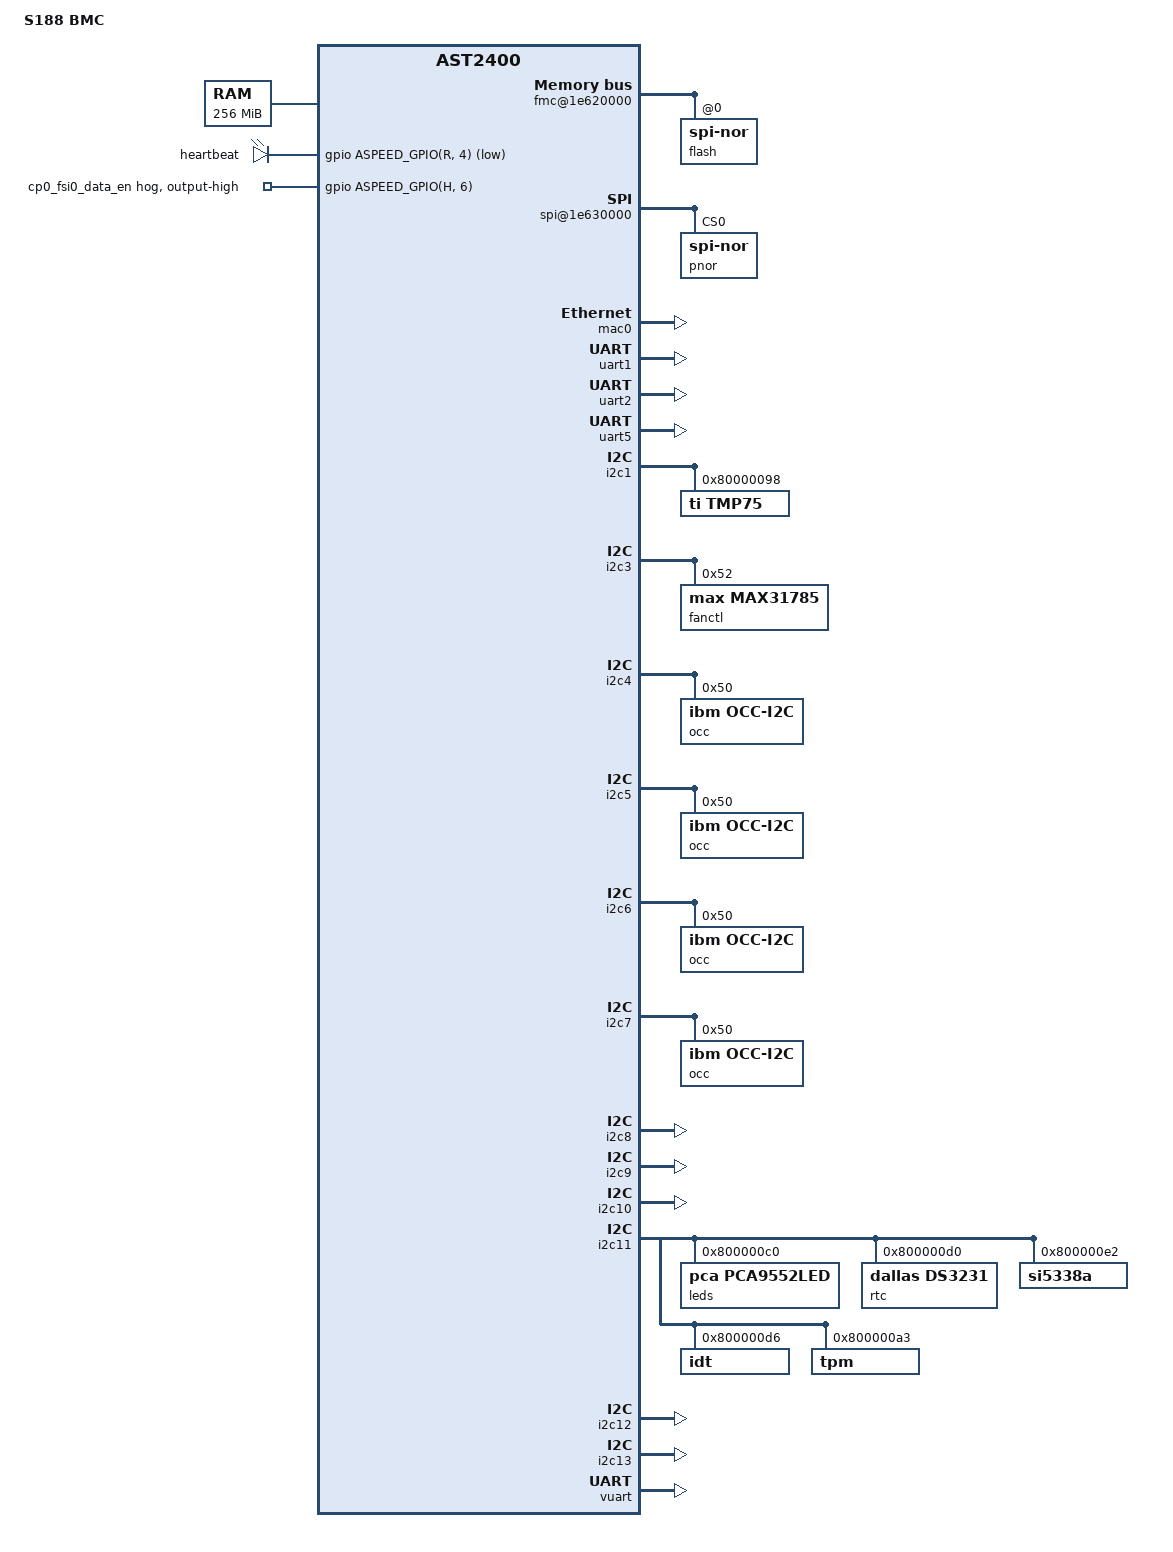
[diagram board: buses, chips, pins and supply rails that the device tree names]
/dts-v1/;

#include "aspeed-g4.dtsi"

#include <dt-bindings/gpio/aspeed-gpio.h>

/ {
	model = "S188 BMC";
	compatible = "ibm,firestone-bmc", "aspeed,ast2400";

	aliases {
		serial0 = &vuart;
		serial1 = &uart1;
		serial2 = &uart2;
		serial4 = &uart5;
	};

	chosen {
		stdout-path = &uart5;
		bootargs = "console=ttyS4,115200";
	};

	memory {
		reg = < 0x40000000 0x10000000 >;
	};

	leds {
		compatible = "gpio-leds";

		heartbeat {
			gpios = <&gpio ASPEED_GPIO(R, 4) GPIO_ACTIVE_LOW>;
			linux,default-trigger = "heartbeat";
		};
	};

	ahb {
		fmc@1e620000 {
			reg = < 0x1e620000 0x94
				0x20000000 0x02000000 >;
			#address-cells = <1>;
			#size-cells = <0>;
			compatible = "aspeed,ast2400-fmc";

			flash@0 {
				reg = < 0 >;
				compatible = "jedec,spi-nor" ;
#include "aspeed-bmc-opp-flash-layout.dtsi"
			};
		};

		spi@1e630000 {
			reg = < 0x1e630000 0x18
				0x30000000 0x02000000 >;
			#address-cells = <1>;
			#size-cells = <0>;
			compatible = "aspeed,ast2400-smc";
			flash@0 {
				reg = < 0 >;
				compatible = "jedec,spi-nor" ;
				label = "pnor";
			};
		};
	};
};

&mac0 {
	status = "okay";
    use-ncsi;
	pinctrl-names = "default";
	pinctrl-0 = <&pinctrl_rmii1_default>;
};

&uart1 {
	status = "okay";
};

&uart2 {
	status = "okay";
};

&uart5 {
	status = "okay";
};

&i2c0 {
	// grounded
	status = "disabled";
};

&i2c1 {
	status = "okay";
	tmp75@92 {
		compatible = "ti,tmp75";
		reg = <0x80000098>;
	};
};

&i2c2 {
	// i2c mux
};

&i2c3 {
	status = "okay";

	// i2c hub PCA9516A
	// spruce / madrone PDB
	// APSS
	// FIR (fan / SATA backplane)
	fanctl@52 {
		compatible = "max,max31785";
		reg = <0x52>;
	};
};

&i2c4 {
	status = "okay";

	// turismo
	occ@50 {
		compatible = "ibm,occ-i2c";
		reg = <0x50>;
	};
};

&i2c5 {
	status = "okay";

	// turismo
	occ@50 {
		compatible = "ibm,occ-i2c";
		reg = <0x50>;
	};
};

&i2c6 {
	status = "okay";
	
    occ@50 {
		compatible = "ibm,occ-i2c";
		reg = <0x50>;
	};
};

&i2c7 {
	status = "okay";
	
	occ@50 {
		compatible = "ibm,occ-i2c";
		reg = <0x50>;
	};
};

&i2c8 {
	status = "okay";
};

&i2c9 {
	status = "okay";
};

&i2c10 {
	status = "okay";
};

&i2c11 {
	status = "okay";

	leds@c0 {
		compatible = "pca,pca9552led";
		reg = <0x800000c0>;
		// led9 - led_fault_n
		// led10 - pwr_led_n
		// led11 - rear_id_led_n
	};

	rtc@d0 {
		compatible = "dallas,ds3231";
		reg = <0x800000d0>;
	};

	si5338a@e2 {
		// SiLabs clock generator
		reg =<0x800000e2>;
	};

	idt@d6 {
		// IDT 9DBV0641 clock buffer
		reg = <0x800000d6>;
	};

	tpm@a3 {
		reg = <0x800000a3>;
	};
};

&i2c12 {
	// i2c hub PCA9516A
	status = "okay";
};

&i2c13 {
	// i2c hub PCA9516A
	status = "okay";
};

&gpio {
	cp0_fsi0_data_en {
		gpio-hog;
		gpios = <ASPEED_GPIO(H, 6) GPIO_ACTIVE_HIGH>;
		output-high;
		line-name = "cp0_fsi0_data_en";
	};
};

&vuart {
	status = "okay";
};
